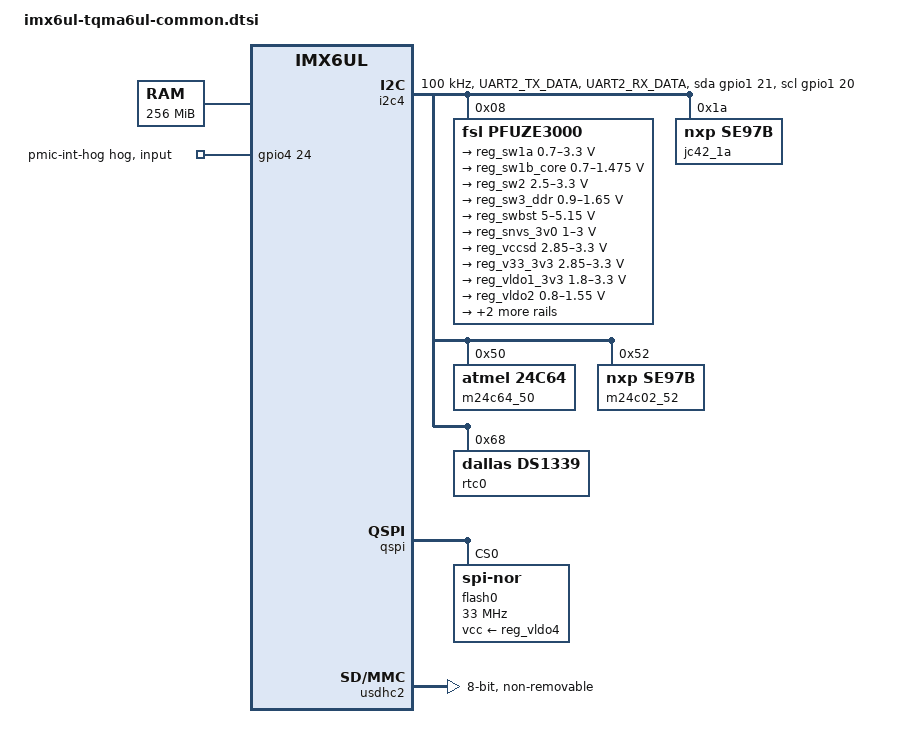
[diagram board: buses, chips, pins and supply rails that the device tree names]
// SPDX-License-Identifier: (GPL-2.0-or-later OR MIT)
/*
 * Copyright 2018-2022 TQ-Systems GmbH
 * Author: Markus Niebel <Markus.Niebel@tq-group.com>
 */

/*
 * Common for
 * - TQMa6ULx
 * - TQMa6ULxL
 * - TQMa6ULLx
 * - TQMa6ULLxL
 */

/ {
	memory@80000000 {
		device_type = "memory";
		reg = <0x80000000 0x10000000>;
	};
};

&i2c4 {
	clock-frequency = <100000>;
	pinctrl-names = "default", "gpio";
	pinctrl-0 = <&pinctrl_i2c4>;
	pinctrl-1 = <&pinctrl_i2c4_recovery>;
	scl-gpios = <&gpio1 20 (GPIO_ACTIVE_HIGH | GPIO_OPEN_DRAIN)>;
	sda-gpios = <&gpio1 21 (GPIO_ACTIVE_HIGH | GPIO_OPEN_DRAIN)>;
	status = "okay";

	pfuze3000: pmic@8 {
		compatible = "fsl,pfuze3000";
		reg = <0x08>;

		regulators {
			reg_sw1a: sw1a {
				regulator-min-microvolt = <700000>;
				regulator-max-microvolt = <3300000>;
				regulator-boot-on;
				regulator-ramp-delay = <6250>;
				/* not used */
			};

			reg_sw1b_core: sw1b {
				regulator-min-microvolt = <700000>;
				regulator-max-microvolt = <1475000>;
				regulator-boot-on;
				regulator-always-on;
				regulator-ramp-delay = <6250>;
			};

			reg_sw2: sw2 {
				regulator-min-microvolt = <2500000>;
				regulator-max-microvolt = <3300000>;
			};

			reg_sw3_ddr: sw3 {
				regulator-min-microvolt = <900000>;
				regulator-max-microvolt = <1650000>;
				regulator-boot-on;
				regulator-always-on;
			};

			reg_swbst: swbst {
				regulator-min-microvolt = <5000000>;
				regulator-max-microvolt = <5150000>;
				/* not used */
			};

			reg_snvs_3v0: vsnvs {
				regulator-min-microvolt = <1000000>;
				regulator-max-microvolt = <3000000>;
				regulator-boot-on;
				regulator-always-on;
			};

			reg_vrefddr: vrefddr {
				regulator-boot-on;
				regulator-always-on;
			};

			reg_vccsd: vccsd {
				regulator-min-microvolt = <2850000>;
				regulator-max-microvolt = <3300000>;
			};

			reg_v33_3v3: v33 {
				regulator-min-microvolt = <2850000>;
				regulator-max-microvolt = <3300000>;
				regulator-always-on;
			};

			reg_vldo1_3v3: vldo1 {
				regulator-min-microvolt = <1800000>;
				regulator-max-microvolt = <3300000>;
				/* not used */
			};

			reg_vldo2: vldo2 {
				regulator-min-microvolt = <800000>;
				regulator-max-microvolt = <1550000>;
				/* not used */
			};

			reg_vldo3: vldo3 {
				regulator-min-microvolt = <1800000>;
				regulator-max-microvolt = <3300000>;
				/* not used */
			};

			reg_vldo4: vldo4 {
				regulator-min-microvolt = <1800000>;
				regulator-max-microvolt = <1800000>;
				regulator-always-on;
			};
		};
	};

	jc42_1a: eeprom-temperature@1a {
		compatible = "nxp,se97b", "jedec,jc-42.4-temp";
		reg = <0x1a>;
	};

	m24c64_50: eeprom@50 {
		compatible = "atmel,24c64";
		reg = <0x50>;
		pagesize = <32>;
	};

	m24c02_52: eeprom@52 {
		compatible = "nxp,se97b", "atmel,24c02";
		reg = <0x52>;
		pagesize = <16>;
		read-only;
	};

	rtc0: rtc@68 {
		compatible = "dallas,ds1339";
		reg = <0x68>;
	};
};

&gpio4 {
	pinctrl-names = "default";
	pinctrl-0 = <&pinctrl_pmic>;

	/*
	 * PMIC & temperature sensor IRQ
	 * Both do currently not use IRQ
	 * potentially dangerous if used on baseboard
	 */
	pmic-int-hog {
		gpio-hog;
		gpios = <24 0>;
		input;
	};
};

&qspi {
	pinctrl-names = "default";
	pinctrl-0 = <&pinctrl_qspi>;
	status = "okay";

	flash0: flash@0 {
		compatible = "jedec,spi-nor";
		reg = <0>;
		spi-max-frequency = <33000000>;
		spi-rx-bus-width = <4>;
		spi-tx-bus-width = <1>;
		vcc-supply = <&reg_vldo4>;

		partitions {
			compatible = "fixed-partitions";
			#address-cells = <1>;
			#size-cells = <1>;
		};
	};
};

/* eMMC */
&usdhc2 {
	pinctrl-names = "default", "state_100mhz" , "state_200mhz";
	pinctrl-0 = <&pinctrl_usdhc2>;
	pinctrl-1 = <&pinctrl_usdhc2_100mhz>;
	pinctrl-2 = <&pinctrl_usdhc2_200mhz>;

	bus-width = <8>;
	disable-wp;
	non-removable;
	no-sdio;
	no-sd;
	status = "okay";
};

&iomuxc {
	pinctrl_i2c4: i2c4grp {
		fsl,pins = <
			MX6UL_PAD_UART2_TX_DATA__I2C4_SCL	0x4001b8b0
			MX6UL_PAD_UART2_RX_DATA__I2C4_SDA	0x4001b8b0
		>;
	};

	pinctrl_i2c4_recovery: i2c4recoverygrp {
		fsl,pins = <
			MX6UL_PAD_UART2_TX_DATA__GPIO1_IO20	0x4001b8b0
			MX6UL_PAD_UART2_RX_DATA__GPIO1_IO21	0x4001b8b0
		>;
	};

	pinctrl_pmic: pmicgrp {
		fsl,pins = <
			/* PMIC irq */
			MX6UL_PAD_CSI_DATA03__GPIO4_IO24	0x1b099
		>;
	};
};
